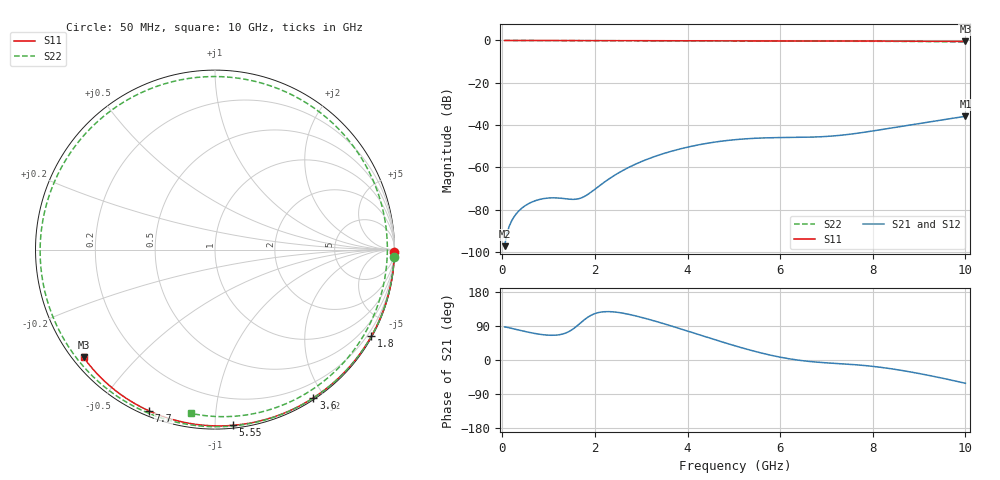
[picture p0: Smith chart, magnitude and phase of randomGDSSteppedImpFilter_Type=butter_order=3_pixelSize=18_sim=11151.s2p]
! freq	dB(S11)	phase(S11)	dB(S12)	phase(S12)
!  dB(S21)	phase(S21)	dB(S22)	phase(S22)
!S-par simulation data
#  GHz  S  DB  R 50
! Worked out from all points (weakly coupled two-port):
!   200 points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, 50 MHz to 10 GHz, reference 50 ohm
!   highest |S21| = -35.90 dB at 10 GHz (marker M1); lowest = -97.3 dB at 50 MHz (marker M2)
!   lowest |S11| = -0.5 dB at 10 GHz (marker M3), VSWR 36.58, Z = 1.54 - j17.9 ohm
!   |S11| at or under -10 dB: nowhere
!   |S22| runs from -0.7 to 0.0 dB; largest |S21 - S12| = 0
!   S11 on the Smith chart (normalised r, x): 50 MHz: open; 1.8 GHz: 0.03, -3.88; 3.6 GHz: 0.02, -1.86; 5.55 GHz: 0.02, -1.11; 7.7 GHz: 0.02, -0.67; 10 GHz: 0.03, -0.36
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0.05  -0.00 -0.8  -97.29 87.4  -97.29 87.4  -0.01 -2.5
0.4  -0.01 -6.5  -79.73 77.8  -79.73 77.8  -0.02 -19.3
0.8  -0.02 -13.0  -75.22 68.0  -75.22 68.0  -0.05 -38.5
1.3  -0.03 -21.0  -74.70 68.5  -74.70 68.5  -0.08 -62.3
1.75  -0.04 -28.1  -74.05 104.0  -74.05 104.0  -0.11 -83.6
1.8  -0.04 -28.9  -73.46 108.8  -73.46 108.8  -0.11 -86.0
2.55  -0.05 -40.6  -62.14 124.7  -62.14 124.7  -0.15 -121.8
3  -0.06 -47.5  -57.33 112.7  -57.33 112.7  -0.18 -143.8
3.4  -0.07 -53.5  -54.07 99.0  -54.07 99.0  -0.20 -163.8
3.6  -0.08 -56.4  -52.72 91.6  -52.72 91.6  -0.22 -174.0
3.95  -0.08 -61.6  -50.71 78.3  -50.71 78.3  -0.24 167.7
4.3  -0.09 -66.6  -49.11 64.8  -49.11 64.8  -0.26 148.9
4.7  -0.11 -72.3  -47.73 49.4  -47.73 49.4  -0.29 126.9
5.05  -0.12 -77.2  -46.88 36.5  -46.88 36.5  -0.31 107.3
5.55  -0.14 -84.1  -46.17 19.8  -46.17 19.8  -0.32 79.3
6.15  -0.16 -92.2  -45.89 4.1  -45.89 4.1  -0.33 47.0
6.7  -0.19 -99.4  -45.70 -4.7  -45.70 -4.7  -0.34 19.4
7.15  -0.22 -105.2  -45.16 -8.7  -45.16 -8.7  -0.35 -1.2
7.7  -0.26 -112.2  -43.79 -13.2  -43.79 -13.2  -0.38 -23.9
8.35  -0.31 -120.3  -41.56 -22.3  -41.56 -22.3  -0.43 -47.7
9.15  -0.38 -130.2  -38.73 -39.2  -38.73 -39.2  -0.53 -73.4
10  -0.48 -140.6  -35.90 -61.5  -35.90 -61.5  -0.71 -98.3
